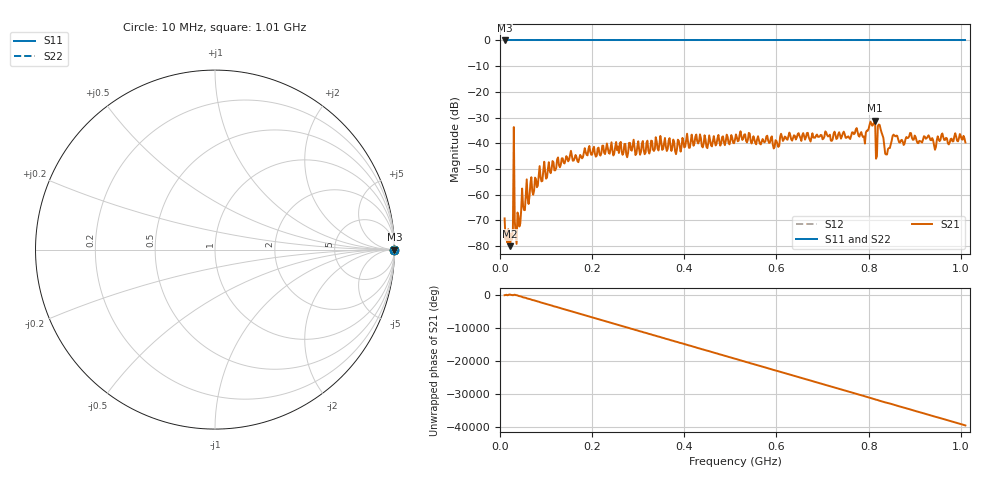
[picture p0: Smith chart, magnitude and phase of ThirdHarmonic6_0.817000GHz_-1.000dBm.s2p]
! 8/16/2025 3:11:01 AM
! C:\ANRITSUVNA\TEMP\TEMP.S2P
! CHANNEL.1
! TR.MEASUREMENT
! RAW.DATA
! RF.CORRECTION.OFF
! AVERAGING.OFF
! IF.BANDWIDTH: 5KHZ
! SWEEPTYPE:  FREQ.SWEEP(Linear)
! Reference Plane Port Info
! PORT:  PORT1  PORT2
! DISTANCE:  0  m  0  m
! TIME:  0  s  0  s
! PHASE.OFFSET:  0  deg.  0  deg.
! LOSS:  0  dB  0  dB
! REF.LOSS:  0  dB  0  dB
! REF.FREQ:  0  Hz  0  Hz
! Power Info
! POWER:  -20  dBm  -20  dBm
! EFF.POWER:  -20  dBm  -20  dBm
! SOURCE.ATTEN:  0  dB  0  dB
! TEST.ATTEN:  0  dB  0  dB
# GHZ S RI R 50.0
! FREQ.GHZ  S11RE  S11IM  S21RE  S21IM  S12RE  S12IM  S22RE  S22IM
!; PortSelection: Port_12
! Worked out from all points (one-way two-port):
!   501 points, 10 MHz to 1.01 GHz, reference 50 ohm
!   highest |S21| = -31.17 dB at 814 MHz (marker M1); lowest = -80.0 dB at 22 MHz (marker M2)
!   lowest |S11| = 0.0 dB at 10 MHz (marker M3)
!   |S11| at or under -10 dB: nowhere
!   |S22| runs from 0.0 to 0.0 dB; largest |S21 - S12| = 1
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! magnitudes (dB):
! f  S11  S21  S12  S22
! 10 MHz  0.0  -69.2  0.0  0.0
! 22 MHz  0.0  -80.0  0.0  0.0
! 24 MHz  0.0  -75.1  0.0  0.0
! 26 MHz  0.0  -77.5  0.0  0.0
! 28 MHz  0.0  -73.2  0.0  0.0
! 34 MHz  0.0  -74.9  0.0  0.0
! 36 MHz  0.0  -79.1  0.0  0.0
! 38 MHz  0.0  -66.9  0.0  0.0
! 52 MHz  0.0  -65.9  0.0  0.0
! 82 MHz  0.0  -56.5  0.0  0.0
! 178 MHz  0.0  -45.9  0.0  0.0
! 344 MHz  0.0  -42.8  0.0  0.0
! 510 MHz  0.0  -38.6  0.0  0.0
! 678 MHz  0.0  -36.1  0.0  0.0
! 790 MHz  0.0  -37.4  0.0  0.0
! 810 MHz  0.0  -32.6  0.0  0.0
! 814 MHz  0.0  -31.2  0.0  0.0
! 824 MHz  0.0  -32.9  0.0  0.0
! 838 MHz  0.0  -44.3  0.0  0.0
! 844 MHz  0.0  -41.8  0.0  0.0
! 856 MHz  0.0  -37.0  0.0  0.0
! 1.01 GHz  0.0  -39.7  0.0  0.0
